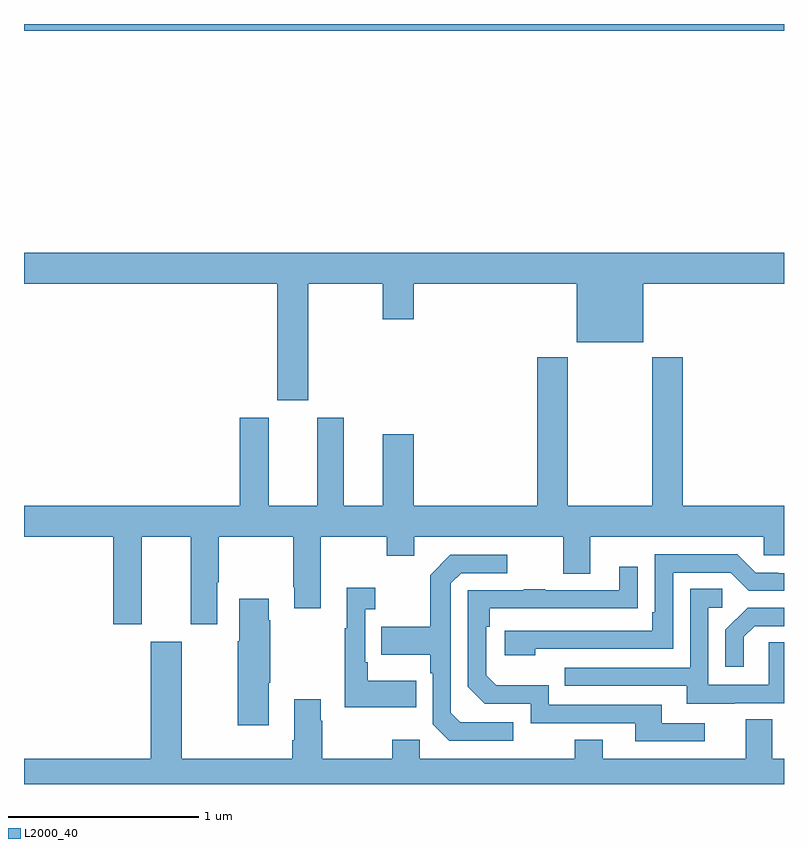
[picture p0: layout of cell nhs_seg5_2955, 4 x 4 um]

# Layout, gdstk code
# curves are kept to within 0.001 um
import gdstk
lib = gdstk.Library(unit=1e-6, precision=1e-09)
def R(c, l, rs):  # rectangles x0, y0, x1, y1
    for r in rs: c.add(gdstk.rectangle(r[:2], r[2:], *l))
def P(c, l, *ps):  # polygons
    for p in ps: c.add(gdstk.Polygon(p, *l))
L2000_40 = (2000, 40)

nhs_seg5_2955 = lib.new_cell('nhs_seg5_2955')
R(nhs_seg5_2955, L2000_40, [(283,852.764,287,852.799)])
P(nhs_seg5_2955, L2000_40, [(283,851.432),(284.333,851.432),(284.333,850.818),(284.497,850.818),(284.497,851.432),(284.888,851.432),(284.888,851.244),(285.052,851.244),(285.052,851.432),(285.908,851.432),(285.908,851.123),(286.258,851.123),(286.258,851.432),(287,851.432),(287,851.596),(283,851.596)],
  [(283.621,850.1),(283.877,850.1),(283.877,849.639),(284.017,849.639),(284.017,849.862),(284.025,849.862),(284.025,850.1),(284.416,850.1),(284.416,849.835),(284.423,849.835),(284.423,849.723),(284.563,849.723),(284.563,850.1),(284.908,850.1),(284.908,850.001),(285.055,850.001),(285.055,850.1),(285.839,850.1),(285.839,849.906),(285.979,849.906),(285.979,850.1),(286.893,850.1),(286.893,850.002),(287,850.002),(287,850.264),(286.466,850.264),(286.466,851.044),(286.306,851.044),(286.306,850.264),(285.861,850.264),(285.861,851.044),(285.701,851.044),(285.701,850.264),(285.052,850.264),(285.052,850.639),(284.888,850.639),(284.888,850.264),(284.683,850.264),(284.683,850.726),(284.543,850.726),(284.543,850.264),(284.287,850.264),(284.287,850.726),(284.135,850.726),(284.135,850.264),(283,850.264),(283,850.1),(283.469,850.1),(283.469,849.639),(283.621,849.639)],
  [(285.692,849.51),(286.416,849.51),(286.416,849.912),(286.719,849.912),(286.815,849.816),(287,849.816),(287,849.909),(286.97,849.909),(286.97,849.912),(286.851,849.912),(286.755,850.008),(286.32,850.008),(286.32,849.703),(286.307,849.703),(286.307,849.606),(285.531,849.606),(285.531,849.476),(285.692,849.476)],
  [(285.574,849.123),(285.297,849.123),(285.246,849.174),(285.246,849.855),(285.3,849.909),(285.544,849.909),(285.544,850.005),(285.243,850.005),(285.138,849.899),(285.138,849.627),(284.881,849.627),(284.881,849.479),(285.138,849.479),(285.138,849.383),(285.15,849.383),(285.15,849.114),(285.237,849.027),(285.574,849.027)],
  [(286.582,849.12),(286.357,849.12),(286.357,849.216),(285.762,849.216),(285.762,849.319),(285.485,849.319),(285.432,849.372),(285.432,849.626),(285.452,849.626),(285.452,849.723),(286.229,849.724),(286.229,849.943),(286.133,849.943),(286.133,849.819),(285.743,849.819),(285.743,849.824),(285.631,849.824),(285.631,849.819),(285.336,849.819),(285.336,849.312),(285.426,849.222),(285.666,849.222),(285.666,849.12),(286.217,849.12),(286.217,849.024),(286.582,849.024)],
  [(285.065,849.343),(284.809,849.343),(284.809,849.439),(284.796,849.439),(284.796,849.719),(284.848,849.719),(284.848,849.832),(284.699,849.832),(284.699,849.619),(284.688,849.619),(284.688,849.203),(285.065,849.203)],
  [(286.741,849.225),(287,849.225),(287,849.545),(286.92,849.545),(286.92,849.321),(286.602,849.321),(286.602,849.726),(286.675,849.726),(286.675,849.827),(286.506,849.827),(286.506,849.411),(285.847,849.411),(285.847,849.315),(286.487,849.315),(286.487,849.221),(286.741,849.221)],
  [(284.287,849.331),(284.295,849.331),(284.295,849.662),(284.287,849.662),(284.287,849.775),(284.132,849.775),(284.132,849.551),(284.125,849.551),(284.125,849.108),(284.287,849.108)],
  [(286.789,849.573),(286.846,849.63),(287,849.63),(287,849.726),(286.808,849.726),(286.692,849.61),(286.692,849.417),(286.789,849.417)],
  [(284.423,849.028),(284.411,849.028),(284.411,848.932),(283.831,848.932),(283.831,849.547),(283.667,849.547),(283.667,848.932),(283,848.932),(283,848.799),(287,848.799),(287,848.932),(286.939,848.932),(286.939,849.14),(286.799,849.14),(286.799,848.932),(286.045,848.932),(286.045,849.031),(285.898,849.031),(285.898,848.932),(285.084,848.932),(285.084,849.031),(284.938,849.031),(284.938,848.932),(284.571,848.932),(284.571,849.131),(284.563,849.131),(284.563,849.244),(284.423,849.244)])

lib.write_gds('nhs_seg5_2955.gds')
